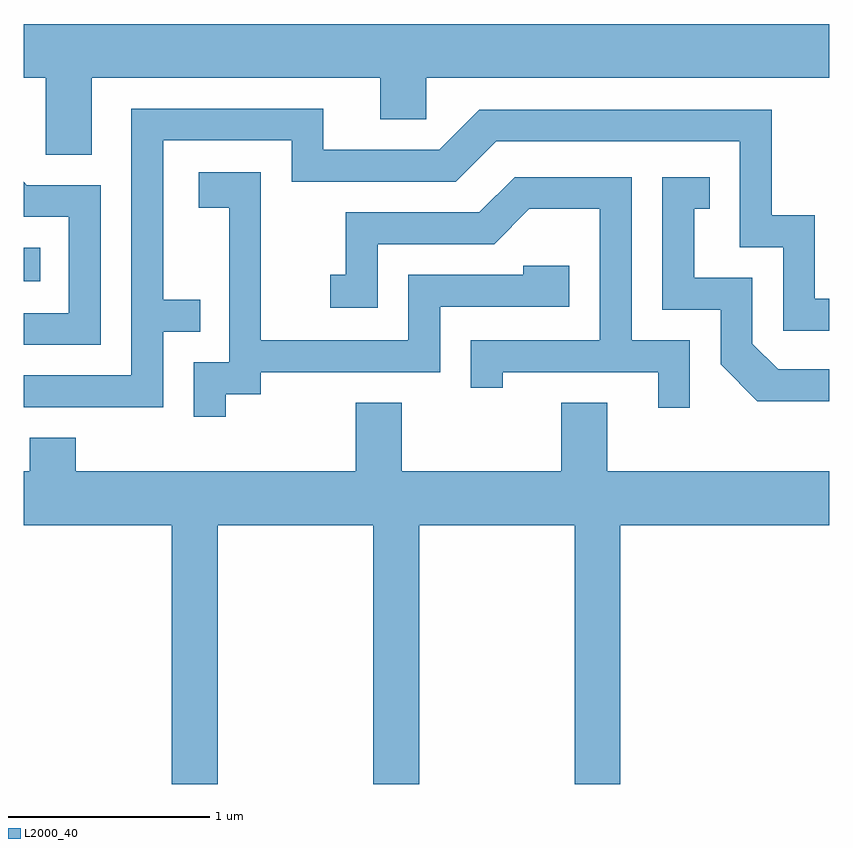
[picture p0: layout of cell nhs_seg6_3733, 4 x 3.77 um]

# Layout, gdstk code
import gdstk
lib = gdstk.Library(unit=1e-6, precision=1e-09)
def R(c, l, rs):  # rectangles x0, y0, x1, y1
    for r in rs: c.add(gdstk.rectangle(r[:2], r[2:], *l))
def P(c, l, *ps):  # polygons
    for p in ps: c.add(gdstk.Polygon(p, *l))
L2000_40 = (2000, 40)

nhs_seg6_3733 = lib.new_cell('nhs_seg6_3733')
R(nhs_seg6_3733, L2000_40, [(297.611,1586.766,297.693,1586.934)])
P(nhs_seg6_3733, L2000_40, [(297.611,1587.776),(297.721,1587.776),(297.721,1587.396),(297.949,1587.396),(297.949,1587.776),(299.381,1587.776),(299.381,1587.571),(299.609,1587.571),(299.609,1587.776),(301.611,1587.776),(301.611,1588.044),(297.611,1588.044)],
  [(298.304,1586.516),(298.488,1586.516),(298.488,1586.674),(298.304,1586.674),(298.304,1587.466),(298.941,1587.466),(298.941,1587.261),(299.757,1587.261),(299.957,1587.461),(301.166,1587.461),(301.166,1586.936),(301.381,1586.936),(301.381,1586.521),(301.611,1586.521),(301.611,1586.679),(301.539,1586.679),(301.539,1587.094),(301.324,1587.094),(301.324,1587.619),(299.874,1587.619),(299.674,1587.419),(299.099,1587.419),(299.099,1587.624),(298.146,1587.624),(298.146,1586.299),(297.611,1586.299),(297.611,1586.141),(298.304,1586.141)],
  [(298.614,1586.206),(298.789,1586.206),(298.789,1586.316),(299.679,1586.316),(299.679,1586.641),(300.319,1586.641),(300.319,1586.844),(300.091,1586.844),(300.091,1586.799),(299.521,1586.799),(299.521,1586.474),(298.789,1586.474),(298.789,1587.309),(298.481,1587.309),(298.481,1587.131),(298.631,1587.131),(298.631,1586.364),(298.456,1586.364),(298.456,1586.093),(298.614,1586.093)],
  [(301.611,1586.329),(301.357,1586.329),(301.229,1586.457),(301.229,1586.784),(300.939,1586.784),(300.939,1587.126),(301.018,1587.126),(301.018,1587.284),(300.781,1587.284),(300.781,1586.626),(301.071,1586.626),(301.071,1586.354),(301.254,1586.171),(301.611,1586.171)],
  [(300.919,1586.474),(300.629,1586.474),(300.629,1587.284),(300.049,1587.284),(299.874,1587.109),(299.211,1587.109),(299.211,1586.799),(299.133,1586.799),(299.133,1586.636),(299.369,1586.636),(299.369,1586.951),(299.947,1586.951),(300.122,1587.126),(300.471,1587.126),(300.471,1586.474),(299.831,1586.474),(299.831,1586.238),(299.989,1586.238),(299.989,1586.316),(300.761,1586.316),(300.761,1586.138),(300.919,1586.138)],
  [(297.994,1587.244),(297.627,1587.244),(297.611,1587.26),(297.611,1587.086),(297.836,1587.086),(297.836,1586.609),(297.611,1586.609),(297.611,1586.451),(297.994,1586.451)],
  [(297.641,1585.989),(297.641,1585.824),(297.611,1585.824),(297.611,1585.556),(298.346,1585.556),(298.346,1584.271),(298.574,1584.271),(298.574,1585.556),(299.346,1585.556),(299.346,1584.271),(299.574,1584.271),(299.574,1585.556),(300.346,1585.556),(300.346,1584.271),(300.574,1584.271),(300.574,1585.556),(301.611,1585.556),(301.611,1585.824),(300.509,1585.824),(300.509,1586.164),(300.281,1586.164),(300.281,1585.824),(299.489,1585.824),(299.489,1586.164),(299.261,1586.164),(299.261,1585.824),(297.869,1585.824),(297.869,1585.989)])

lib.write_gds('nhs_seg6_3733.gds')
